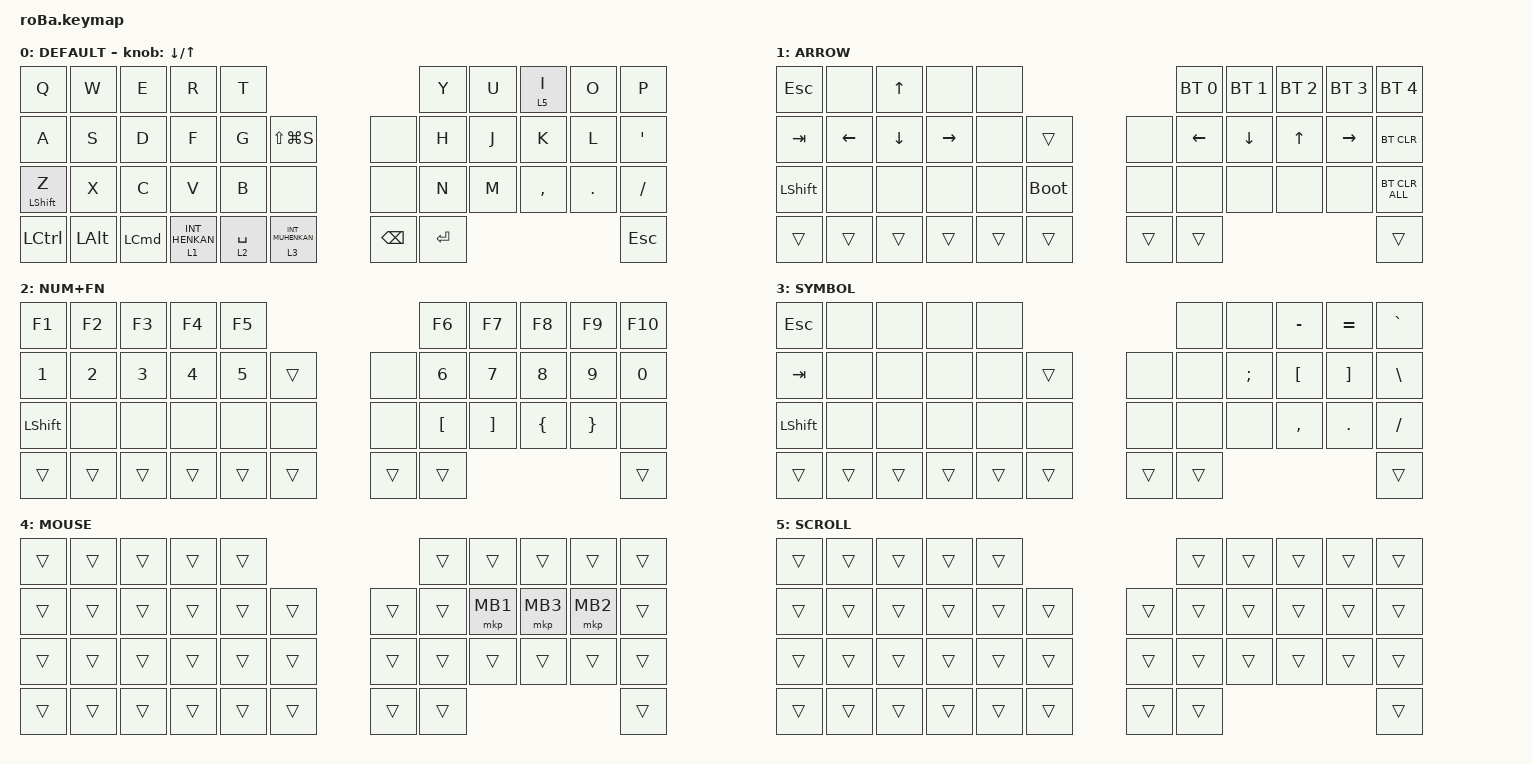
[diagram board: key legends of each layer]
#include <behaviors.dtsi>
#include <dt-bindings/zmk/bt.h>
#include <dt-bindings/zmk/keys.h>
#include <dt-bindings/zmk/pointing.h>

&mt {
    flavor = "balanced";
    quick-tap-ms = <0>;
};

&trackball {
    automouse-layer = <4>;
    scroll-layers = <5>;
};

/ {
    combos { compatible = "zmk,combos"; };

    keymap {
        compatible = "zmk,keymap";

        DEFAULT {
            bindings = <
&kp Q             &kp W     &kp E     &kp R             &kp T                                               &kp Y      &kp U  &lt 5 I    &kp O    &kp P
&kp A             &kp S     &kp D     &kp F             &kp G        &kp LS(LG(S))           &none          &kp H      &kp J  &kp K      &kp L    &kp SQT
&mt LEFT_SHIFT Z  &kp X     &kp C     &kp V             &kp B        &none                   &none          &kp N      &kp M  &kp COMMA  &kp DOT  &kp SLASH
&kp LCTRL         &kp LALT  &kp LCMD  &lt 1 INT_HENKAN  &lt 2 SPACE  &lt 3 INT_MUHENKAN      &kp BACKSPACE  &kp ENTER                             &kp ESCAPE
            >;

            sensor-bindings = <&inc_dec_kp DOWN UP>;
        };

        ARROW {
            bindings = <
&kp ESC     &none     &kp UP    &none      &none                            &bt BT_SEL 0  &bt BT_SEL 1  &bt BT_SEL 2  &bt BT_SEL 3  &bt BT_SEL 4
&kp TAB     &kp LEFT  &kp DOWN  &kp RIGHT  &none   &trans           &none   &kp LEFT      &kp DOWN      &kp UP        &kp RIGHT     &bt BT_CLR
&kp LSHIFT  &none     &none     &none      &none   &bootloader      &none   &none         &none         &none         &none         &bt BT_CLR_ALL
&trans      &trans    &trans    &trans     &trans  &trans           &trans  &trans                                                  &trans
            >;
        };

        NUM+FN {
            bindings = <
&kp F1          &kp F2        &kp F3        &kp F4        &kp F5                            &kp F6            &kp F7             &kp F8          &kp F9           &kp F10
&kp NUMBER_1    &kp NUMBER_2  &kp NUMBER_3  &kp NUMBER_4  &kp NUMBER_5  &trans      &none   &kp NUMBER_6      &kp NUMBER_7       &kp NUMBER_8    &kp NUMBER_9     &kp NUMBER_0
&kp LEFT_SHIFT  &none         &none         &none         &none         &none       &none   &kp LEFT_BRACKET  &kp RIGHT_BRACKET  &kp LEFT_BRACE  &kp RIGHT_BRACE  &none
&trans          &trans        &trans        &trans        &trans        &trans      &trans  &trans                                                                &trans
            >;
        };

        SYMBOL {
            bindings = <
&kp ESCAPE      &none   &none   &none   &none                       &none   &none     &kp MINUS         &kp EQUAL          &kp GRAVE
&kp TAB         &none   &none   &none   &none   &trans      &none   &none   &kp SEMI  &kp LEFT_BRACKET  &kp RIGHT_BRACKET  &kp BACKSLASH
&kp LEFT_SHIFT  &none   &none   &none   &none   &none       &none   &none   &none     &kp COMMA         &kp DOT            &kp SLASH
&trans          &trans  &trans  &trans  &trans  &trans      &trans  &trans                                                 &trans
            >;
        };

        MOUSE {
            bindings = <
&trans  &trans  &trans  &trans  &trans                      &trans  &trans    &trans    &trans    &trans
&trans  &trans  &trans  &trans  &trans  &trans      &trans  &trans  &mkp MB1  &mkp MB3  &mkp MB2  &trans
&trans  &trans  &trans  &trans  &trans  &trans      &trans  &trans  &trans    &trans    &trans    &trans
&trans  &trans  &trans  &trans  &trans  &trans      &trans  &trans                                &trans
            >;
        };

        SCROLL {
            bindings = <
&trans  &trans  &trans  &trans  &trans                      &trans  &trans  &trans  &trans  &trans
&trans  &trans  &trans  &trans  &trans  &trans      &trans  &trans  &trans  &trans  &trans  &trans
&trans  &trans  &trans  &trans  &trans  &trans      &trans  &trans  &trans  &trans  &trans  &trans
&trans  &trans  &trans  &trans  &trans  &trans      &trans  &trans                          &trans
            >;
        };
    };
};
